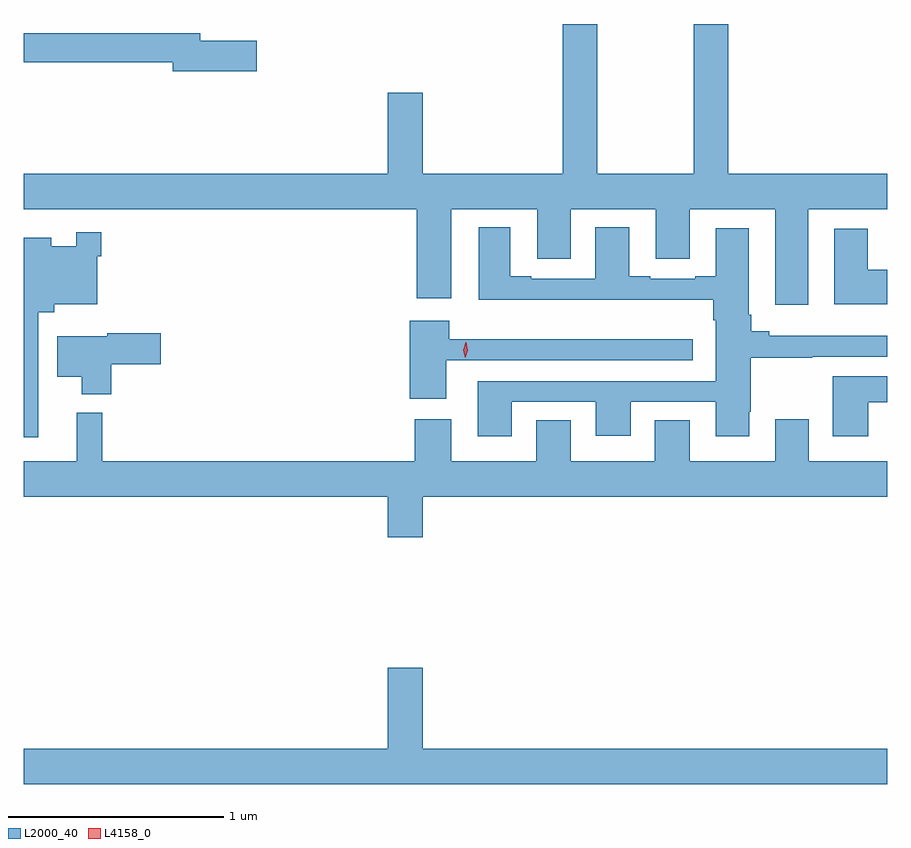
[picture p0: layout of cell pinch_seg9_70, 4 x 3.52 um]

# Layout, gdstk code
import gdstk
lib = gdstk.Library(unit=1e-6, precision=1e-09)
def P(c, l, *ps):  # polygons
    for p in ps: c.add(gdstk.Polygon(p, *l))
L2000_40 = (2000, 40)
L4158_0 = (4158, 0)

pinch_seg9_70 = lib.new_cell('pinch_seg9_70')
P(pinch_seg9_70, L2000_40, [(980.192,1169.944),(978.507,1169.944),(978.507,1169.78),(980.327,1169.78),(980.327,1169.367),(980.488,1169.367),(980.488,1169.78),(980.885,1169.78),(980.885,1169.55),(981.04,1169.55),(981.04,1169.78),(981.434,1169.78),(981.434,1169.55),(981.592,1169.55),(981.592,1169.78),(981.989,1169.78),(981.989,1169.337),(982.141,1169.337),(982.141,1169.78),(982.507,1169.78),(982.507,1169.944),(981.77,1169.944),(981.77,1170.638),(981.61,1170.638),(981.61,1169.944),(981.165,1169.944),(981.165,1170.638),(981.005,1170.638),(981.005,1169.944),(980.356,1169.944),(980.356,1170.319),(980.192,1170.319)],
  [(979.585,1170.56),(979.324,1170.56),(979.324,1170.596),(978.507,1170.596),(978.507,1170.46),(979.196,1170.46),(979.196,1170.418),(979.585,1170.418)],
  [(980.767,1168.887),(981.158,1168.887),(981.158,1168.731),(981.319,1168.731),(981.319,1168.887),(981.713,1168.887),(981.713,1168.728),(981.868,1168.728),(981.868,1168.84),(981.876,1168.84),(981.876,1169.092),(982.16,1169.092),(982.16,1169.097),(982.507,1169.097),(982.507,1169.194),(981.961,1169.194),(981.961,1169.213),(981.878,1169.213),(981.878,1169.29),(981.865,1169.29),(981.865,1169.692),(981.713,1169.692),(981.713,1169.47),(981.617,1169.47),(981.617,1169.457),(981.409,1169.457),(981.409,1169.47),(981.313,1169.47),(981.313,1169.695),(981.155,1169.695),(981.155,1169.457),(980.857,1169.457),(980.857,1169.47),(980.761,1169.47),(980.761,1169.695),(980.615,1169.695),(980.615,1169.36),(981.701,1169.36),(981.701,1169.264),(981.713,1169.264),(981.713,1168.983),(980.609,1168.983),(980.609,1168.728),(980.767,1168.728)],
  [(982.507,1169.5),(982.417,1169.5),(982.417,1169.689),(982.262,1169.689),(982.262,1169.339),(982.507,1169.339)],
  [(978.573,1169.303),(978.647,1169.303),(978.647,1169.339),(978.846,1169.339),(978.846,1169.561),(978.866,1169.561),(978.866,1169.674),(978.75,1169.674),(978.75,1169.608),(978.634,1169.608),(978.634,1169.647),(978.507,1169.647),(978.507,1168.722),(978.573,1168.722)],
  [(980.464,1169.079),(981.607,1169.079),(981.607,1169.177),(980.477,1169.177),(980.477,1169.263),(980.294,1169.263),(980.294,1168.902),(980.464,1168.902)],
  [(978.911,1169.062),(979.141,1169.062),(979.141,1169.204),(978.894,1169.204),(978.894,1169.191),(978.662,1169.191),(978.662,1169.003),(978.776,1169.003),(978.776,1168.922),(978.911,1168.922)],
  [(982.42,1168.886),(982.507,1168.886),(982.507,1169.005),(982.256,1169.005),(982.256,1168.728),(982.42,1168.728)],
  [(980.356,1168.448),(982.507,1168.448),(982.507,1168.612),(982.144,1168.612),(982.144,1168.807),(981.989,1168.807),(981.989,1168.612),(981.592,1168.612),(981.592,1168.802),(981.431,1168.802),(981.431,1168.612),(981.04,1168.612),(981.04,1168.802),(980.882,1168.802),(980.882,1168.612),(980.488,1168.612),(980.488,1168.807),(980.318,1168.807),(980.318,1168.612),(978.869,1168.612),(978.869,1168.837),(978.752,1168.837),(978.752,1168.612),(978.507,1168.612),(978.507,1168.448),(980.192,1168.448),(980.192,1168.26),(980.356,1168.26)],
  [(982.507,1167.28),(980.356,1167.28),(980.356,1167.655),(980.192,1167.655),(980.192,1167.28),(978.507,1167.28),(978.507,1167.116),(982.507,1167.116)])
P(pinch_seg9_70, L4158_0, [(980.553,1169.091),(980.553,1169.091),(980.544,1169.127),(980.555,1169.163),(980.556,1169.163),(980.556,1169.163),(980.564,1169.127),(980.553,1169.091)])

lib.write_gds('pinch_seg9_70.gds')
